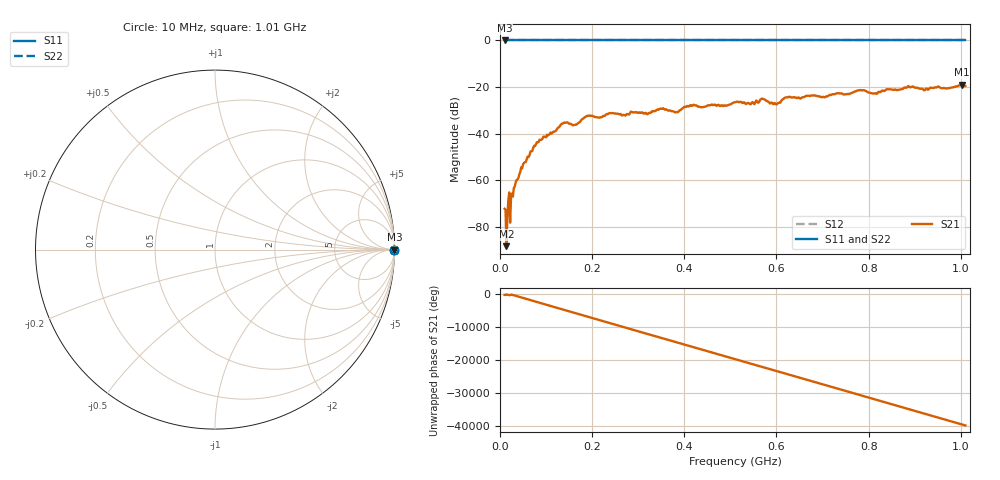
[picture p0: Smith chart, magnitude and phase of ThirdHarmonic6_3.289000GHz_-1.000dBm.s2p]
! 8/17/2025 10:13:29 AM
! C:\ANRITSUVNA\TEMP\TEMP.S2P
! CHANNEL.1
! TR.MEASUREMENT
! RAW.DATA
! RF.CORRECTION.OFF
! AVERAGING.OFF
! IF.BANDWIDTH: 5KHZ
! SWEEPTYPE:  FREQ.SWEEP(Linear)
! Reference Plane Port Info
! PORT:  PORT1  PORT2
! DISTANCE:  0  m  0  m
! TIME:  0  s  0  s
! PHASE.OFFSET:  0  deg.  0  deg.
! LOSS:  0  dB  0  dB
! REF.LOSS:  0  dB  0  dB
! REF.FREQ:  0  Hz  0  Hz
! Power Info
! POWER:  -20  dBm  -20  dBm
! EFF.POWER:  -20  dBm  -20  dBm
! SOURCE.ATTEN:  0  dB  0  dB
! TEST.ATTEN:  0  dB  0  dB
# GHZ S RI R 50.0
! FREQ.GHZ  S11RE  S11IM  S21RE  S21IM  S12RE  S12IM  S22RE  S22IM
!; PortSelection: Port_12
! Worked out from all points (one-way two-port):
!   501 points, 10 MHz to 1.01 GHz, reference 50 ohm
!   highest |S21| = -19.02 dB at 1.002 GHz (marker M1); lowest = -88.2 dB at 14 MHz (marker M2)
!   lowest |S11| = 0.0 dB at 10 MHz (marker M3)
!   |S11| at or under -10 dB: nowhere
!   |S22| runs from 0.0 to 0.0 dB; largest |S21 - S12| = 1.1
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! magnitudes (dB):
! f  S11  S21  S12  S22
! 10 MHz  0.0  -72.2  0.0  0.0
! 14 MHz  0.0  -88.2  0.0  0.0
! 18 MHz  0.0  -69.0  0.0  0.0
! 22 MHz  0.0  -78.1  0.0  0.0
! 26 MHz  0.0  -65.6  0.0  0.0
! 28 MHz  0.0  -66.9  0.0  0.0
! 48 MHz  0.0  -54.9  0.0  0.0
! 78 MHz  0.0  -44.6  0.0  0.0
! 136 MHz  0.0  -35.7  0.0  0.0
! 162 MHz  0.0  -36.2  0.0  0.0
! 178 MHz  0.0  -33.8  0.0  0.0
! 344 MHz  0.0  -29.7  0.0  0.0
! 384 MHz  0.0  -30.7  0.0  0.0
! 416 MHz  0.0  -28.0  0.0  0.0
! 510 MHz  0.0  -26.5  0.0  0.0
! 570 MHz  0.0  -25.0  0.0  0.0
! 598 MHz  0.0  -27.2  0.0  0.0
! 622 MHz  0.0  -24.4  0.0  0.0
! 678 MHz  0.0  -23.6  0.0  0.0
! 844 MHz  0.0  -21.0  0.0  0.0
! 1.002 GHz  0.0  -19.0  0.0  0.0
! 1.01 GHz  0.0  -19.6  0.0  0.0
